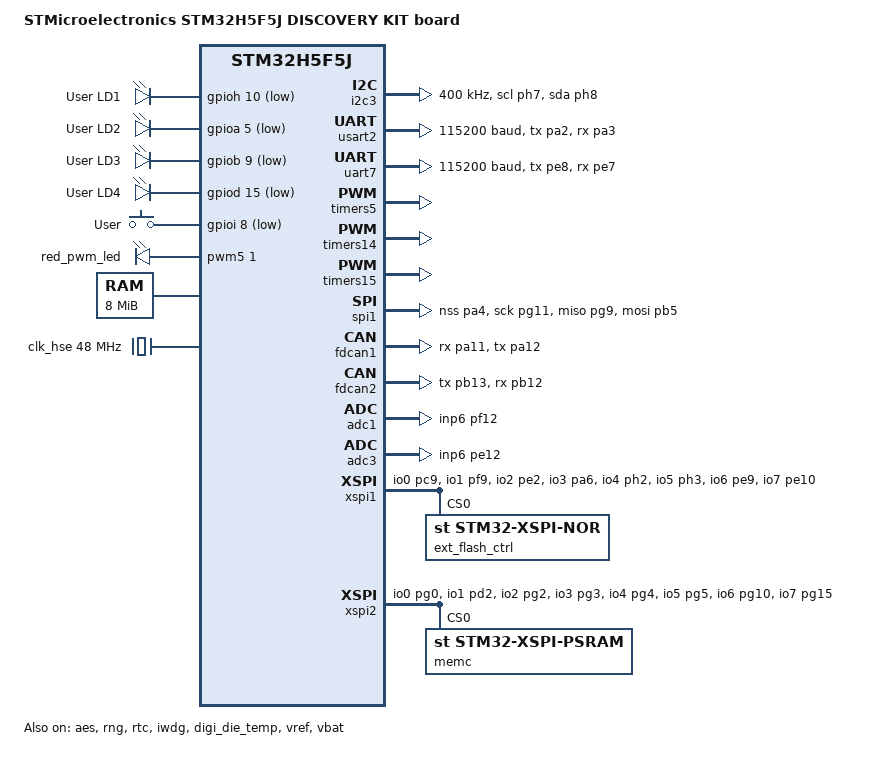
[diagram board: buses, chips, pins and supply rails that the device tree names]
/*
 * Copyright (c) 2026 STMicroelectronics
 *
 * SPDX-License-Identifier: Apache-2.0
 */

#include <st/h5/stm32h5f5Xj.dtsi>
#include <st/h5/stm32h5f5ljhxq-pinctrl.dtsi>
#include "arduino_r3_connector.dtsi"
#include <zephyr/dt-bindings/input/input-event-codes.h>
#include <zephyr/dt-bindings/memory-attr/memory-attr.h>
#include <zephyr/dt-bindings/memory-attr/memory-attr-arm.h>
#include <zephyr/dt-bindings/memory-controller/stm32-fmc-nor-psram.h>
#include <zephyr/dt-bindings/mipi_dbi/mipi_dbi.h>

/ {
	model = "STMicroelectronics STM32H5F5J DISCOVERY KIT board";
	compatible = "st,stm32h5f5j-dk";

	chosen {
		zephyr,console = &usart2;
		zephyr,shell-uart = &usart2;
		zephyr,sram = &sram1;
		zephyr,canbus = &fdcan1;
	};

	leds {
		compatible = "gpio-leds";

		red_led_0: led_1 {
			gpios = <&gpioh 10 GPIO_ACTIVE_LOW>;
			label = "User LD1";
		};

		green_led_0: led_2 {
			gpios = <&gpioa 5 GPIO_ACTIVE_LOW>;
			label = "User LD2";
		};

		blue_led_0: led_3 {
			gpios = <&gpiob 9 GPIO_ACTIVE_LOW>;
			label = "User LD3";
		};

		orange_led_0: led_4 {
			gpios = <&gpiod 15 GPIO_ACTIVE_LOW>;
			label = "User LD4";
		};
	};

	gpio_keys {
		compatible = "gpio-keys";

		user_button: button {
			label = "User";
			gpios = <&gpioi 8 GPIO_ACTIVE_LOW>;
			zephyr,code = <INPUT_KEY_0>;
		};
	};

	pwmleds {
		compatible = "pwm-leds";

		red_pwm_led: red_pwm_led {
			pwms = <&pwm5 1 PWM_MSEC(20) PWM_POLARITY_NORMAL>;
		};
	};

	aliases {
		led0 = &blue_led_0;
		sw0 = &user_button;
		pwm-led0 = &red_pwm_led;
		watchdog0 = &iwdg;
		die-temp0 = &digi_die_temp;
		volt-sensor0 = &vref;
		volt-sensor1 = &vbat;
	};

	psram: memory@70000000 {
		compatible = "zephyr,memory-region";
		reg = <0x70000000 DT_SIZE_M(8)>;
		zephyr,memory-region = "PSRAM";
		zephyr,memory-attr = <DT_MEM_ARM_MPU_RAM>;
	};
};

&clk_hsi48 {
	status = "okay";
};

&clk_lse {
	status = "okay";
};

&clk_hse {
	clock-frequency = <DT_FREQ_M(48)>;
	status = "okay";
};

&pll {
	div-m = <12>;
	mul-n = <125>;
	div-p = <2>;
	div-q = <2>;
	div-r = <2>;
	clocks = <&clk_hse>;
	status = "okay";
};

&rcc {
	clocks = <&pll>;
	clock-frequency = <DT_FREQ_M(250)>;
	ahb-prescaler = <1>;
	apb1-prescaler = <1>;
	apb2-prescaler = <1>;
	apb3-prescaler = <1>;
};

&i2c3 {
	pinctrl-0 = <&i2c3_scl_ph7 &i2c3_sda_ph8>;
	pinctrl-names = "default";
	clock-frequency = <I2C_BITRATE_FAST>;
	status = "okay";
};

&usart2 {
	pinctrl-0 = <&usart2_tx_pa2 &usart2_rx_pa3>;
	pinctrl-names = "default";
	current-speed = <115200>;
	status = "okay";
};

&uart7 {
	pinctrl-0 = <&uart7_tx_pe8 &uart7_rx_pe7>;
	pinctrl-names = "default";
	current-speed = <115200>;
	status = "okay";
};

&timers5 {
	st,prescaler = <10000>;
	status = "okay";

	pwm5: pwm {
		status = "okay";
		pinctrl-0 = <&tim5_ch1_ph10>;
		pinctrl-names = "default";
	};
};

&timers14 {
	st,prescaler = <10000>;
	status = "okay";

	pwm14: pwm {
		status = "okay";
		pinctrl-0 = <&tim14_ch1_pa7>;
		pinctrl-names = "default";
	};
};

&timers15 {
	st,prescaler = <10000>;
	status = "okay";

	pwm15: pwm {
		status = "okay";
		pinctrl-0 = <&tim15_ch2_pe6>;
		pinctrl-names = "default";
	};
};

&aes {
	status = "okay";
};

&rng {
	/* default clock source is HSI48 */
	status = "okay";
};

&rtc {
	clocks = <&rcc STM32_CLOCK(APB3, 21)>,
		 <&rcc STM32_SRC_LSE RTC_SEL(1)>;
	status = "okay";
};

&iwdg {
	status = "okay";
};

&gpdma1 {
	status = "okay";
};

&gpdma2 {
	status = "okay";
};

&dac1 {
	/* Only 2 output channels: OUT1 on PA4 or OUT2 on PA5
	 * Disable by default due to conflict with SPI1 (PA4)
	 * and green_led_0 (PA5).
	 */
	pinctrl-0 = <&dac1_out1_pa4>;  /* Arduino D10 */
	pinctrl-names = "default";
	status = "disabled";
};

&spi1 {
	pinctrl-0 = <&spi1_nss_pa4 &spi1_sck_pg11
		     &spi1_miso_pg9 &spi1_mosi_pb5>;
	pinctrl-names = "default";
	status = "okay";
};

&fdcan1 {
	pinctrl-0 = <&fdcan1_rx_pa11 &fdcan1_tx_pa12>;
	pinctrl-names = "default";
	status = "okay";
};

&fdcan2 {
	pinctrl-0 = <&fdcan2_tx_pb13 &fdcan2_rx_pb12>;
	pinctrl-names = "default";
	status = "okay";
};

&fdcan3 {
	/* Disable by default due to conflict with ADC3 (PA12) */
	pinctrl-0 = <&fdcan3_tx_pe12 &fdcan3_rx_pe13>;
	pinctrl-names = "default";
	status = "disabled";
};

&digi_die_temp {
	status = "okay";
};

&adc1 {
	clocks = <&rcc STM32_CLOCK(AHB2, 10)>,
		 <&rcc STM32_SRC_HCLK ADCDAC_SEL(0)>;
	clock-names = "adcx", "adc_ker";
	pinctrl-0 = <&adc1_inp6_pf12>; /* Arduino A5 */
	pinctrl-names = "default";
	st,adc-clock-source = "ASYNC";
	st,adc-prescaler = <6>;
	status = "okay";
};

&adc3 {
	clocks = <&rcc STM32_CLOCK(AHB2, 24)>,
		 <&rcc STM32_SRC_HCLK ADCDAC_SEL(0)>;
	clock-names = "adcx", "adc_ker";
	pinctrl-0 = <&adc3_inp6_pe12>; /* Arduino A1 */
	pinctrl-names = "default";
	st,adc-clock-source = "ASYNC";
	st,adc-prescaler = <6>;
	status = "okay";
};

/* Do not enable the Vsense until calibration values are fixed */

&vref {
	status = "okay";
};

&vbat {
	status = "okay";
};

&xspi1 {
	pinctrl-0 = <&octospim_p1_io0_pc9 &octospim_p1_io1_pf9
		     &octospim_p1_io2_pe2 &octospim_p1_io3_pa6
		     &octospim_p1_io4_ph2 &octospim_p1_io5_ph3
		     &octospim_p1_io6_pe9 &octospim_p1_io7_pe10
		     &octospim_p1_clk_pf10 &octospim_p1_ncs1_pg6
		     &octospim_p1_dqs_pc5>;
	pinctrl-names = "default";

	status = "okay";

	ext_flash_ctrl: xspi-flash-controller@0 {
		compatible = "st,stm32-xspi-nor";
		reg = <0>;
		size = <DT_SIZE_M(512)>; /* 512 Mbits */
		ospi-max-frequency = <DT_FREQ_M(50)>;
		spi-bus-width = <XSPI_OCTO_MODE>;
		data-rate = <XSPI_DTR_TRANSFER>;
		four-byte-opcodes;
		status = "okay";

		#address-cells = <1>;
		#size-cells = <1>;

		ext_flash: mx25lm51245: ext-flash@0 {
			compatible = "soc-nv-flash";
			reg = <0x0 DT_SIZE_M(64)>;
			write-block-size = <1>;
			erase-block-size = <DT_SIZE_K(4)>;
		};
	};
};

&xspi2 {
	pinctrl-0 = <&octospim_p2_io0_pg0 &octospim_p2_io1_pd2
		     &octospim_p2_io2_pg2 &octospim_p2_io3_pg3
		     &octospim_p2_io4_pg4 &octospim_p2_io5_pg5
		     &octospim_p2_io6_pg10 &octospim_p2_io7_pg15
		     &octospim_p2_clk_pe14 &octospim_p2_ncs1_pe15
		     &octospim_p2_dqs_pf5>;
	pinctrl-names = "default";

	status = "okay";

	memc: aps6408l: memory@0 {
		compatible = "st,stm32-xspi-psram";
		reg = <0>;
		size = <DT_SIZE_M(64)>; /* 64 Mbits */
		max-frequency = <DT_FREQ_M(133)>;
		fixed-latency;
		burst-length = <3>;
		st,refresh = <320>;
		st,csbound = <10>;
		status = "okay";
	};
};
